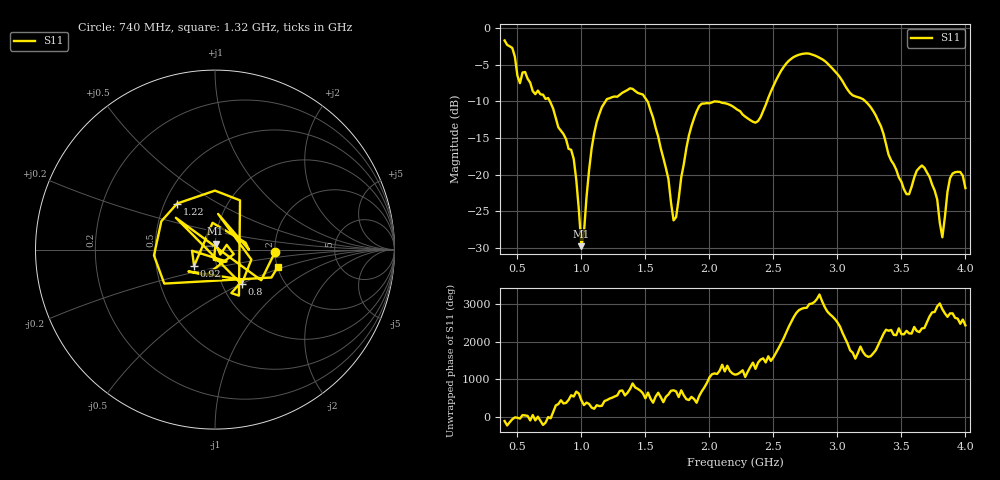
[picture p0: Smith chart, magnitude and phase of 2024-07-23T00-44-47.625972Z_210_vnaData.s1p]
!Created with skrf (http://scikit-rf.org).
# Hz S RI R 50.0
!freq ReS11 ImS11
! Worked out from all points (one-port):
!   181 points, 400 MHz to 4 GHz, reference 50 ohm
!   lowest |S11| = -29.8 dB at 1 GHz (marker M1), VSWR 1.07, Z = 50.2 + j3.25 ohm
!   |S11| at or under -10 dB: 754 MHz to 1.188 GHz (434.3 MHz wide, 44.7 % of centre); 1.517 GHz to 2.039 GHz (522.8 MHz wide, 29.4 % of centre); 3.22 GHz to end of sweep (the widest 3 of 4)
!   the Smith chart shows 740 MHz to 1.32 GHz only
!   S11 on the Smith chart (normalised r, x): 740 MHz: 2.00, -0.07; 800 MHz: 1.23, -0.51; 920 MHz: 0.78, -0.15; 1.22 GHz: 0.58, +0.33; 1.32 GHz: 2.00, -0.46
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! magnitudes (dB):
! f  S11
! 400 MHz  -1.7
! 520 MHz  -7.5
! 740 MHz  -9.5
! 800 MHz  -12.3
! 860 MHz  -14.5
! 920 MHz  -16.6
! 960 MHz  -20.7
! 1 GHz  -29.8
! 1.1 GHz  -14.3
! 1.22 GHz  -9.6
! 1.3 GHz  -9.1
! 1.32 GHz  -8.8
! 1.52 GHz  -10.1
! 1.68 GHz  -20.6
! 1.72 GHz  -26.2
! 1.76 GHz  -23.3
! 1.92 GHz  -10.6
! 2.2 GHz  -10.9
! 2.38 GHz  -12.7
! 2.66 GHz  -3.9
! 3.1 GHz  -8.9
! 3.28 GHz  -11.3
! 3.56 GHz  -22.7
! 3.68 GHz  -19.1
! 3.78 GHz  -23.4
! 3.82 GHz  -28.5
! 3.88 GHz  -20.5
! 4 GHz  -21.8
